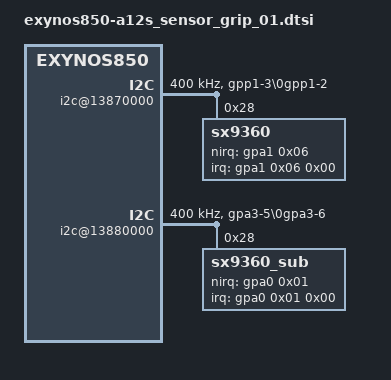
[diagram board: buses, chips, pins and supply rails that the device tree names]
// SPDX-License-Identifier: GPL-2.0
/*
 * Galaxy A12 board revision 01 grip data, from the stock DTBO
 *
 * Copyright (c) 2021 Samsung Electronics Co., Ltd.
 */

/ {
	fragment@grip0 {
		target-path = "/acpm_mfd_bus@11A50000";
		__overlay__ {
			s2mpu12mfd@00 {
				regulators {
					LDO27 {
						regulator-always-on;
					};
				};
			};
		};
	};
};

/ {
	fragment@grip1 {
		target-path = "/pinctrl@11850000";
		__overlay__ {
			grip_int: grip-int {
				samsung,pin-drv = <0x00>;
				samsung,pin-pud = <0x00>;
				samsung,pins = "gpa1-6";
			};
			grip_sub_i2c: grip-sub-i2c {
				samsung,pin-function = <0x03>;
				samsung,pin-pud = <0x00>;
				samsung,pin-pud-pdn = <0x00>;
				samsung,pins = "gpa3-5\0gpa3-6";
			};
			grip_sub_int: grip-sub-int {
				samsung,pin-drv = <0x00>;
				samsung,pin-function = <0x0f>;
				samsung,pin-pud = <0x00>;
				samsung,pins = "gpa0-1";
			};
		};
	};
};

/ {
	fragment@grip2 {
		target-path = "/pinctrl@139b0000";
		__overlay__ {
			grip_i2c: grip-i2c {
				samsung,pin-function = <0x02>;
				samsung,pin-pud = <0x00>;
				samsung,pin-pud-pdn = <0x00>;
				samsung,pins = "gpp1-3\0gpp1-2";
			};
		};
	};
};

/ {
	fragment@grip3 {
		target-path = "/i2c@13870000";
		__overlay__ {
			clock-frequency = <0x61a80>;
			pinctrl-0 = <&grip_i2c>;
			samsung,reset-before-trans;
			status = "okay";
			sx9360: sx9360-i2c@28 {
				compatible = "sx9360";
				interrupt-parent = <&gpa1>;
				interrupts = <0x06 0x00 0x00>;
				pinctrl-0 = <&grip_int>;
				pinctrl-names = "default";
				reg = <0x28>;
				status = "okay";
				sx9360,againfreq_reg = <0x34>;
				sx9360,gainrawfilt_reg = <0x12>;
				sx9360,hallic_cert_detect = <0x00>;
				sx9360,hallic_detect = <0x00>;
				sx9360,hyst_reg = <0x19>;
				sx9360,nirq-gpio = <&gpa1 0x06 0x00>;
				sx9360,proxthresh_reg = <0x25>;
				sx9360,refagainfreq_reg = <0x36>;
				sx9360,refgainrawfilt_reg = <0x22>;
				sx9360,refresolution_reg = <0x0f>;
				sx9360,regproxctrl3_reg = <0x0c>;
				sx9360,resolution_reg = <0x0f>;
			};
		};
	};
};

/ {
	fragment@grip4 {
		target-path = "/i2c@13880000";
		__overlay__ {
			clock-frequency = <0x61a80>;
			pinctrl-0 = <&grip_sub_i2c>;
			samsung,reset-before-trans;
			status = "okay";
			sx9360_sub: sx9360_sub-i2c@28 {
				compatible = "sx9360_sub";
				interrupt-parent = <&gpa0>;
				interrupts = <0x01 0x00 0x00>;
				pinctrl-0 = <&grip_sub_int>;
				pinctrl-names = "default";
				reg = <0x28>;
				status = "okay";
				sx9360,againfreq_reg = <0x34>;
				sx9360,gainrawfilt_reg = <0x22>;
				sx9360,hyst_reg = <0x19>;
				sx9360,proxthresh_reg = <0x20>;
				sx9360,refagainfreq_reg = <0x36>;
				sx9360,refgainrawfilt_reg = <0x22>;
				sx9360,refresolution_reg = <0x0f>;
				sx9360,reggnrlctrl2_reg = <0x19>;
				sx9360,regproxctrl3_reg = <0x0c>;
				sx9360,resolution_reg = <0x0f>;
				sx9360_sub,hallic_cert_detect = <0x00>;
				sx9360_sub,hallic_detect = <0x00>;
				sx9360_sub,nirq-gpio = <&gpa0 0x01 0x00>;
			};
		};
	};
};
